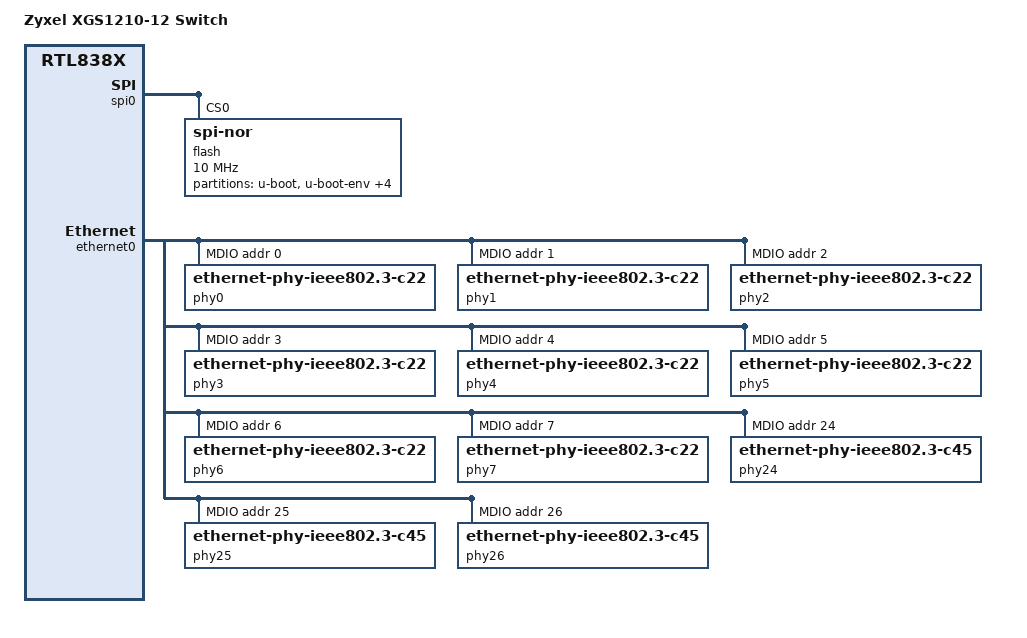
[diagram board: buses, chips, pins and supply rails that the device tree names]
// SPDX-License-Identifier: GPL-2.0-or-later
/dts-v1/;

#include "rtl930x.dtsi"

#include <dt-bindings/input/input.h>
#include <dt-bindings/gpio/gpio.h>

/ {
	compatible = "zyxel,xgs1210-12", "realtek,rtl838x-soc";
	model = "Zyxel XGS1210-12 Switch";

	// mw.l 0xb8003308 0x00200000 active low toggles PHY reset
	chosen {
		bootargs = "console=ttyS0,115200";
	};
};

&spi0 {
	status = "okay";
	flash@0 {
		compatible = "jedec,spi-nor";
		reg = <0>;
		spi-max-frequency = <10000000>;

		partitions {
			compatible = "fixed-partitions";
			#address-cells = <1>;
			#size-cells = <1>;

			partition@0 {
				label = "u-boot";
				reg = <0x0 0xe0000>;
				read-only;
			};
			partition@40000 {
				label = "u-boot-env";
				reg = <0xe0000 0x10000>;
				read-only;
			};
			partition@50000 {
				label = "u-boot-env2";
				reg = <0xf0000 0x10000>;
				read-only;
			};
			partition@60000 {
				label = "jffs";
				reg = <0x100000 0x100000>;
			};
			partition@160000 {
				label = "jffs2";
				reg = <0x200000 0x100000>;
			};
			partition@b260000 {
				label = "firmware";
				reg = <0x300000 0xd00000>;
				compatible = "denx,uimage";
			};
		};
	};
};

&ethernet0 {
	mdio: mdio-bus {
		compatible = "realtek,rtl838x-mdio";
		regmap = <&ethernet0>;
		#address-cells = <1>;
		#size-cells = <0>;

		/* Internal phy */
		phy0: ethernet-phy@0 {
			reg = <0>;
			compatible = "ethernet-phy-ieee802.3-c22";
		};
		phy1: ethernet-phy@1 {
			reg = <1>;
			compatible = "ethernet-phy-ieee802.3-c22";
		};
		phy2: ethernet-phy@2 {
			reg = <2>;
			compatible = "ethernet-phy-ieee802.3-c22";
		};
		phy3: ethernet-phy@3 {
			reg = <3>;
			compatible = "ethernet-phy-ieee802.3-c22";
		};
		phy4: ethernet-phy@4 {
			reg = <4>;
			compatible = "ethernet-phy-ieee802.3-c22";
		};
		phy5: ethernet-phy@5 {
			reg = <5>;
			compatible = "ethernet-phy-ieee802.3-c22";
		};
		phy6: ethernet-phy@6 {
			reg = <6>;
			compatible = "ethernet-phy-ieee802.3-c22";
		};
		phy7: ethernet-phy@7 {
			reg = <7>;
			compatible = "ethernet-phy-ieee802.3-c22";
		};

		phy24: ethernet-phy@24 {
			reg = <24>;
			compatible = "ethernet-phy-ieee802.3-c45";
			rtl9300,smi-address = <1 8>;
		};

		phy25: ethernet-phy@25 {
			reg = <25>;
			compatible = "ethernet-phy-ieee802.3-c45";
			rtl9300,smi-address = <2 8>;
		};

		phy26: ethernet-phy@26 {
			reg = <26>;
			compatible = "ethernet-phy-ieee802.3-c45";
			rtl9300,smi-address = <3 8>;
		};

/*
		phy26: ethernet-phy@26 {
			compatible = "ethernet-phy-ieee802.3-c22";
			phy-is-integrated;
			reg = <26>;
		};
		phy27: ethernet-phy@27 {
			compatible = "ethernet-phy-ieee802.3-c22";
			phy-is-integrated;
			reg = <27>;
		};
*/
	};
};

&switch0 {
	ports {
		#address-cells = <1>;
		#size-cells = <0>;

		port@0 {
			reg = <0>;
			label = "lan1";
			phy-handle = <&phy0>;
			phy-mode = "internal";
		};
		port@1 {
			reg = <1>;
			label = "lan2";
			phy-handle = <&phy1>;
			phy-mode = "internal";
		};
		port@2 {
			reg = <2>;
			label = "lan3";
			phy-handle = <&phy2>;
			phy-mode = "internal";
		};
		port@3 {
			reg = <3>;
			label = "lan4";
			phy-handle = <&phy3>;
			phy-mode = "internal";
		};
		port@4 {
			reg = <4>;
			label = "lan5";
			phy-handle = <&phy4>;
			phy-mode = "internal";
		};
		port@5 {
			reg = <5>;
			label = "lan6";
			phy-handle = <&phy5>;
			phy-mode = "internal";
		};
		port@6 {
			reg = <6>;
			label = "lan7";
			phy-handle = <&phy6>;
			phy-mode = "internal";
		};
		port@7 {
			reg = <7>;
			label = "lan8";
			phy-handle = <&phy7>;
			phy-mode = "internal";
		};

		port@24 {
			reg = <24>;
			label = "lan9";
			phy-mode = "usxgmii";
			phy-handle = <&phy24>;
		};
		port@25 {
			reg = <25>;
			label = "lan10";
			phy-mode = "usxgmii";
			phy-handle = <&phy25>;
		};
		port@26 {
			reg = <26>;
			label = "lan11";
			phy-mode = "usxgmii";
			phy-handle = <&phy25>;
		};
/*
		port@26 {
			reg = <26>;
			label = "lan9";
			phy-mode = "internal";
			phy-handle = <&phy26>;
		};
		port@27 {
			reg = <27>;
			label = "lan10";
			phy-mode = "internal";
			phy-handle = <&phy27>;
		};
*/
		port@28 {
			ethernet = <&ethernet0>;
			reg = <28>;
			phy-mode = "internal";
			fixed-link {
				speed = <1000>;
				full-duplex;
			};
		};
	};
};
